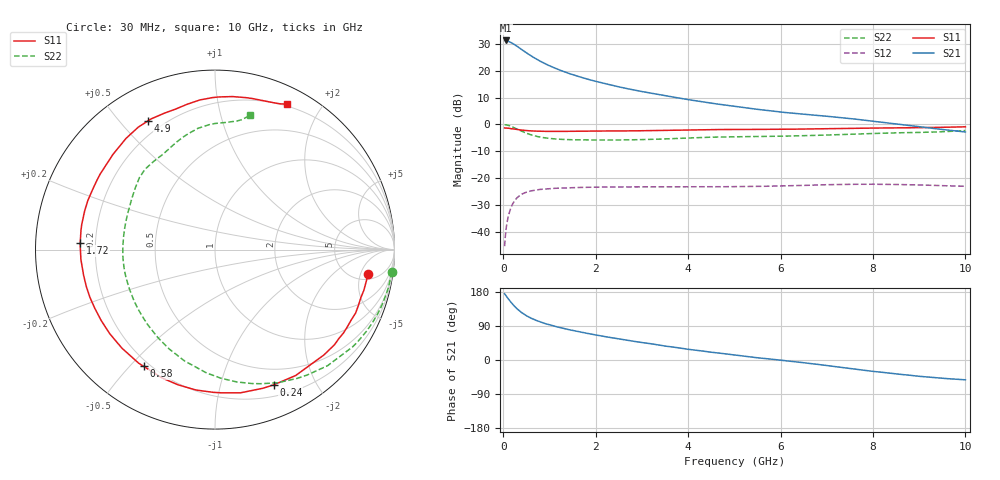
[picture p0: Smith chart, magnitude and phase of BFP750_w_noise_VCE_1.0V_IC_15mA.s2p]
! Infineon Technologies  Discrete & RF Semiconductors
! BFP750
! VCE =  1.0 V,  IC =  15 mA
! Common Emitter S-Parameters:  Jan 2016
# GHz  S  MA  R  50
!  f  S11  S21  S12  S22
! GHz  MAG  ANG  MAG  ANG  MAG  ANG  MAG  ANG
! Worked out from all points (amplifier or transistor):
!   229 points, 30 MHz to 10 GHz, reference 50 ohm
!   highest |S21| = 31.2 dB at 50 MHz (marker M1)
!   |S21| within 3 dB of that: start of sweep to 367.9 MHz
!   unconditionally stable (mu >= 1): 5.019 GHz to end of sweep
!   at 280 MHz: K = 0.09, MSG = 28.4 dB, |S12| = -27.6 dB
!   at 1.78 GHz: K = 0.45, MSG = 20.2 dB, |S12| = -23.3 dB
!   at 10 GHz: K = 1.17, MAG = 7.6 dB, |S12| = -22.9 dB
!   lowest NFmin = 0.69 dB at 450 MHz
!   S11 on the Smith chart (normalised r, x): 30 MHz: 6.30, -6.77; 240 MHz: 0.32, -1.47; 580 MHz: 0.18, -0.55; 1.72 GHz: 0.14, +0.02; 4.9 GHz: 0.14, +0.60; 10 GHz: 0.18, +1.60
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0.03  0.8635 -9.1  36.25 174.9  0.0055 84.8  0.9913 -7.2
0.05  0.8599 -15.2  36.35 170.9  0.0092 82.9  0.9892 -12.0
0.08  0.8595 -24.3  35.92 166.4  0.0147 77.7  0.9787 -19.2
0.15  0.8442 -44.1  34 154.9  0.0261 67.3  0.9386 -35.3
0.2  0.8332 -57.4  32.17 147.5  0.033 60.6  0.9009 -45.9
0.24  0.8214 -66.6  30.61 142.4  0.0376 55.8  0.8671 -53.7
0.3  0.8105 -79.9  28.33 135.0  0.0436 49.6  0.8206 -64.7
0.4  0.7894 -97.8  24.63 125.0  0.0507 41.1  0.7476 -80.6
0.5  0.7736 -112.3  21.47 117.0  0.0554 34.5  0.6889 -93.9
0.58  0.7623 -121.5  19.35 111.9  0.0578 30.4  0.6505 -102.8
0.8  0.7506 -141.4  14.98 100.4  0.0623 22.1  0.5841 -123.1
1  0.7453 -154.0  12.31 92.7  0.0645 17.1  0.5515 -136.8
1.3  0.7461 -168.2  9.677 83.4  0.0663 11.8  0.528 -152.2
1.7  0.752 177.7  7.467 73.1  0.0678 6.9  0.5173 -167.3
1.72  0.7519 177.1  7.382 72.6  0.0679 6.7  0.5169 -167.9
2.42  0.7594 158.9  5.185 57.2  0.0691 0.5  0.5144 172.3
3.4  0.7734 138.9  3.546 38.9  0.0697 -5.6  0.5357 152.0
4.9  0.8087 117.4  2.233 14.7  0.0701 -12.0  0.5908 132.1
5.1  0.8099 115.0  2.118 11.8  0.0703 -12.8  0.594 129.9
6.8  0.8316 97.9  1.472 -11.5  0.0753 -19.7  0.6296 111.2
8.4  0.864 78.5  1.052 -35.3  0.0771 -31.2  0.6965 92.8
10  0.9051 63.6  0.726 -52.3  0.0713 -39.7  0.7718 75.5
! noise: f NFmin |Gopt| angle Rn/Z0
0.45  0.69  0.06  7  1.18
0.9  0.7  0.06  10  0.61
1.5  0.71  0.07  107  0.34
1.9  0.73  0.11  148  0.12
2.4  0.79  0.15  -179  0.07
3.5  1.05  0.24  -154  0.05
